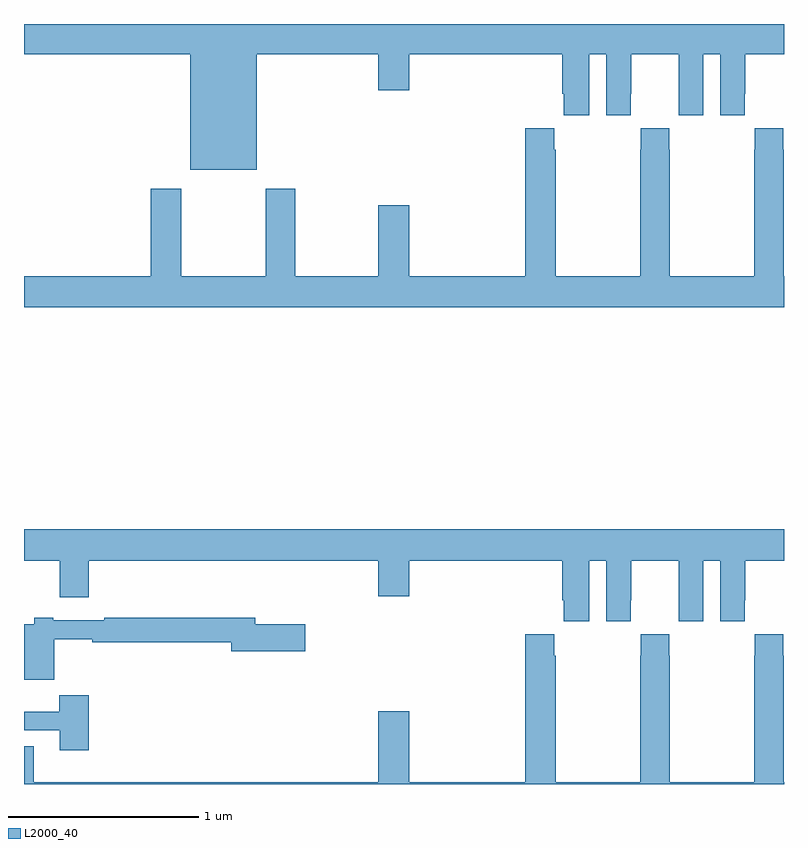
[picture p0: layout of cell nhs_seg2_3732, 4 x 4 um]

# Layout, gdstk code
import gdstk
lib = gdstk.Library(unit=1e-6, precision=1e-09)
def P(c, l, *ps):  # polygons
    for p in ps: c.add(gdstk.Polygon(p, *l))
L2000_40 = (2000, 40)

nhs_seg2_3732 = lib.new_cell('nhs_seg2_3732')
P(nhs_seg2_3732, L2000_40, [(308.224,643.64),(308.864,643.64),(308.864,643.452),(309.028,643.452),(309.028,643.64),(309.833,643.64),(309.833,643.432),(309.842,643.432),(309.842,643.32),(309.976,643.32),(309.976,643.64),(310.064,643.64),(310.064,643.32),(310.194,643.32),(310.194,643.432),(310.195,643.432),(310.195,643.64),(310.445,643.64),(310.445,643.432),(310.446,643.432),(310.446,643.32),(310.576,643.32),(310.576,643.64),(310.664,643.64),(310.664,643.32),(310.794,643.32),(310.794,643.432),(310.795,643.432),(310.795,643.64),(311,643.64),(311,643.8),(307,643.8),(307,643.64),(307.874,643.64),(307.874,643.034),(308.224,643.034)],
  [(311,642.472),(310.998,642.472),(310.998,643.139),(310.995,643.139),(310.995,643.252),(310.845,643.252),(310.845,643.139),(310.843,643.139),(310.843,642.472),(310.398,642.472),(310.398,643.139),(310.395,643.139),(310.395,643.252),(310.245,643.252),(310.245,643.139),(310.243,643.139),(310.243,642.472),(309.798,642.472),(309.798,643.139),(309.791,643.139),(309.791,643.252),(309.638,643.252),(309.638,642.472),(309.028,642.472),(309.028,642.847),(308.864,642.847),(308.864,642.472),(308.427,642.472),(308.427,642.934),(308.272,642.934),(308.272,642.472),(307.827,642.472),(307.827,642.934),(307.667,642.934),(307.667,642.472),(307,642.472),(307,642.308),(311,642.308)],
  [(307,640.976),(307.187,640.976),(307.187,640.782),(307.34,640.782),(307.34,640.976),(308.864,640.976),(308.864,640.788),(309.028,640.788),(309.028,640.976),(309.833,640.976),(309.833,640.768),(309.842,640.768),(309.842,640.656),(309.976,640.656),(309.976,640.976),(310.064,640.976),(310.064,640.656),(310.194,640.656),(310.194,640.768),(310.195,640.768),(310.195,640.976),(310.445,640.976),(310.445,640.768),(310.446,640.768),(310.446,640.656),(310.576,640.656),(310.576,640.976),(310.664,640.976),(310.664,640.656),(310.794,640.656),(310.794,640.768),(310.795,640.768),(310.795,640.976),(311,640.976),(311,641.14),(307,641.14)],
  [(307.16,640.561),(307.358,640.561),(307.358,640.546),(308.09,640.546),(308.09,640.499),(308.479,640.499),(308.479,640.641),(308.218,640.641),(308.218,640.675),(307.423,640.675),(307.423,640.662),(307.153,640.662),(307.153,640.675),(307.053,640.675),(307.053,640.642),(307,640.642),(307,640.349),(307.16,640.349)],
  [(311,639.808),(310.998,639.808),(310.998,640.475),(310.995,640.475),(310.995,640.588),(310.845,640.588),(310.845,640.475),(310.843,640.475),(310.843,639.808),(310.398,639.808),(310.398,640.475),(310.395,640.475),(310.395,640.588),(310.245,640.588),(310.245,640.475),(310.243,640.475),(310.243,639.808),(309.798,639.808),(309.798,640.475),(309.791,640.475),(309.791,640.588),(309.638,640.588),(309.638,639.808),(309.028,639.808),(309.028,640.183),(308.864,640.183),(308.864,639.808),(307.051,639.808),(307.051,639.998),(307,639.998),(307,639.8),(311,639.8)],
  [(307.34,640.267),(307.185,640.267),(307.185,640.18),(307,640.18),(307,640.083),(307.187,640.083),(307.187,639.978),(307.34,639.978)])

lib.write_gds('nhs_seg2_3732.gds')
